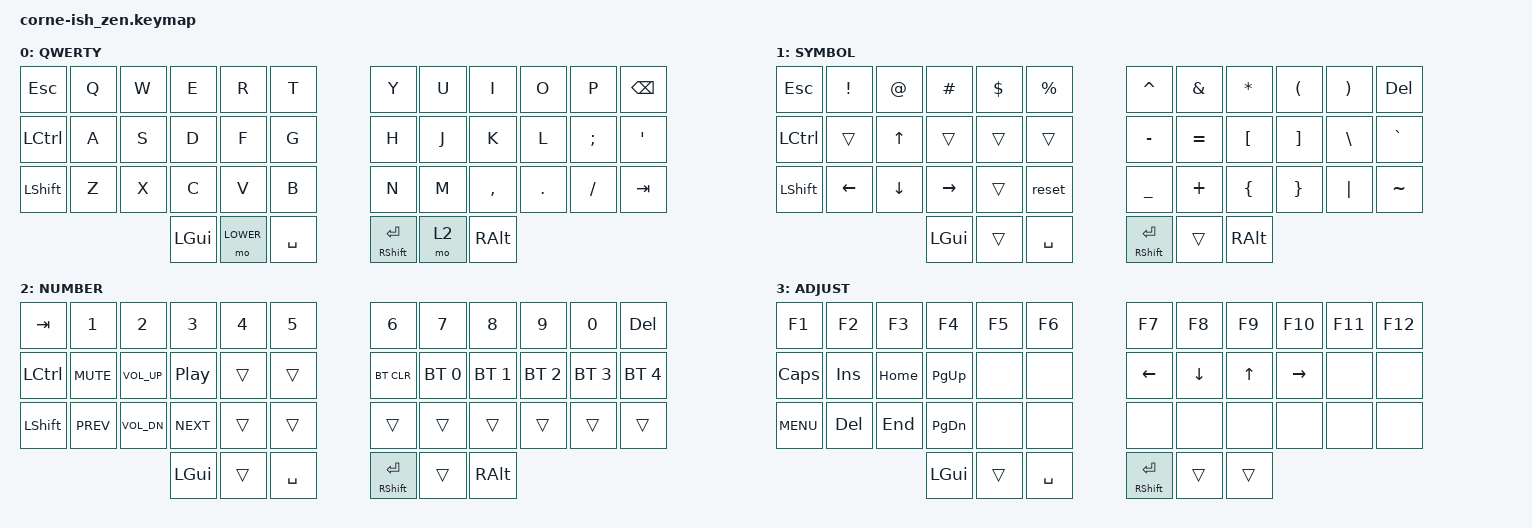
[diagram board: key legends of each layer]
/*
*
* Copyright (c) 2021 Darryl deHaan
* SPDX-License-Identifier: MIT
*
*/

#include <behaviors.dtsi>
#include <dt-bindings/zmk/keys.h>
#include <dt-bindings/zmk/bt.h>
#define DEFAULT 0
#define LOWER 1
#define RAISE 2
#define ADJUST 3
/ {
        keymap {
                compatible = "zmk,keymap";

                default_layer {
                        label = "QWERTY";
// -----------------------------------------------------------------------------------------
// |  ESC |  Q  |  W  |  E  |  R  |  T  |   |  Y   |  U   |  I  |  O  |  P  | BKSP |
// | CTRL |  A  |  S  |  D  |  F  |  G  |   |  H   |  J   |  K  |  L  |  ;  |  '   |
// | SHFT |  Z  |  X  |  C  |  V  |  B  |   |  N   |  M   |  ,  |  .  |  /  | TAB  |
//                    | GUI | LWR | SPC |   |SFTENT| RSE  | ALT |
                        bindings = <
   &kp ESC   &kp Q &kp W &kp E &kp R &kp T   &kp Y &kp U  &kp I     &kp O   &kp P    &kp BSPC
   &kp LCTRL &kp A &kp S &kp D &kp F &kp G   &kp H &kp J  &kp K     &kp L   &kp SEMI &kp SQT
   &kp LSHFT &kp Z &kp X &kp C &kp V &kp B   &kp N &kp M  &kp COMMA &kp DOT &kp FSLH &kp TAB
                  &kp LGUI &mo LOWER &kp SPACE   &mt RSHIFT RET &mo 2 &kp RALT
                        >;
                };
                lower_layer {
                        label = "SYMBOL";
// -----------------------------------------------------------------------------------------
// |  ESC |  !  |  @  |  #  |  $  |  %  |   |  ^   |  &  |  *  |  (  |  )  | DEL  |
// | CTRL |     | UP  |     |     |     |   |  -   |  =  |  [  |  ]  |  \  |  `   |
// | SHFT | LEFT| DOWN|RIGHT|     |     |   |  _   |  +  |  {  |  }  | "|" |  ~   |
//                    | GUI |     | SPC |   |SFTENT|     | ALT |
                        bindings = <
   &kp  ESC  &kp EXCL &kp AT	&kp HASH 	&kp DLLR &kp PRCNT   		&kp CARET 		&kp AMPS  &kp STAR	&kp LPAR &kp RPAR &kp DEL
   &kp LCTRL &trans   &kp UP 	&trans   	&trans   &trans      		&kp MINUS 		&kp EQUAL &kp LBKT	&kp RBKT &kp BSLH &kp GRAVE
   &kp LSHFT &kp LEFT &kp DOWN 	&kp RIGHT   &trans   &reset      		&kp UNDER 		&kp PLUS  &kp LBRC 	&kp RBRC &kp PIPE &kp TILDE
                      &kp LGUI  &trans     	&kp SPACE 					&mt RSHIFT RET  &trans    &kp RALT
                        >;
                };
                raise_layer {
                        label = "NUMBER";
// -----------------------------------------------------------------------------------------
// |  ESC |  1  |  2  |  3  |  4  |  5  |   |  6   |  7  |  8  |  9  |  0  | DEL  |
// | CTRL | MUTE| VOLU| PLAY|     |     |   | BTCLR| BT1 | BT2 | BT3 | BT4 | BT5  |
// | SHFT | PREV| VOLD| NEXT|     |     |   |      |     |     |     |     |      |
//                    | GUI |     | SPC |   |SFTENT|     | ALT |
                        bindings = <
   &kp TAB    &kp N1       &kp N2       &kp N3       &kp N4       &kp N5         &kp N6   		&kp N7   	 	&kp N8 	  &kp N9       &kp N0 		&kp DEL
   &kp LCTRL  &kp C_MUTE   &kp C_VOL_UP &kp C_PP     &trans       &trans   	 	 &bt BT_CLR 	&bt BT_SEL 0 	&bt BT_SEL 1 &bt BT_SEL 2 &bt BT_SEL 3 &bt BT_SEL 4 
   &kp LSHFT  &kp C_PREV   &kp C_VOL_DN &kp C_NEXT   &trans       &trans         &trans   		&trans   	 	&trans 	  &trans       &trans 		&trans
										&kp LGUI     &trans       &kp SPACE      &mt RSHIFT RET &trans   		&kp RALT
                        >;
                };
				adjust_layer {
                        label = "ADJUST";
// -----------------------------------------------------------------------------------------
// |  F1  |  F2 |  F3 |  F4 |  F5 |  F6 |   |  F7  |  F8 |  F9 | F10 | F11 | F12  |
// | CAPS | INS | HOME| PGUP|     |     |   | LEFT | DOWN|  UP |RIGHT|     | 	  |	
// | MENU | DEL | END | PGDN|     |     |   |      |     |     |     |     |      |
//                    | GUI |     | SPC |   |SFTENT|     | GAME|
                        bindings = <
   &kp F1      &kp F2  &kp F3   &kp F4		&kp F5 	&kp F6    &kp F7   &kp F8   &kp F9 &kp F10   &kp F11 &kp F12
   &kp CAPS    &kp INS &kp HOME &kp PG_UP 	&none  	&none     &kp LEFT &kp DOWN &kp UP &kp RIGHT &none   &none
   &kp C_MENU  &kp DEL &kp END  &kp PG_DN 	&none  	&none     &none    &none    &none  &none     &none   &none
								&kp LGUI 	&trans 	&kp SPACE     &mt RSHIFT RET &trans &trans
                        >;
                };
				
	};
};
/ {
    conditional_layers {
        compatible = "zmk,conditional-layers";
        tri_layer {
            if-layers = <1 2>;
            then-layer = <3>;
        };
    };
};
